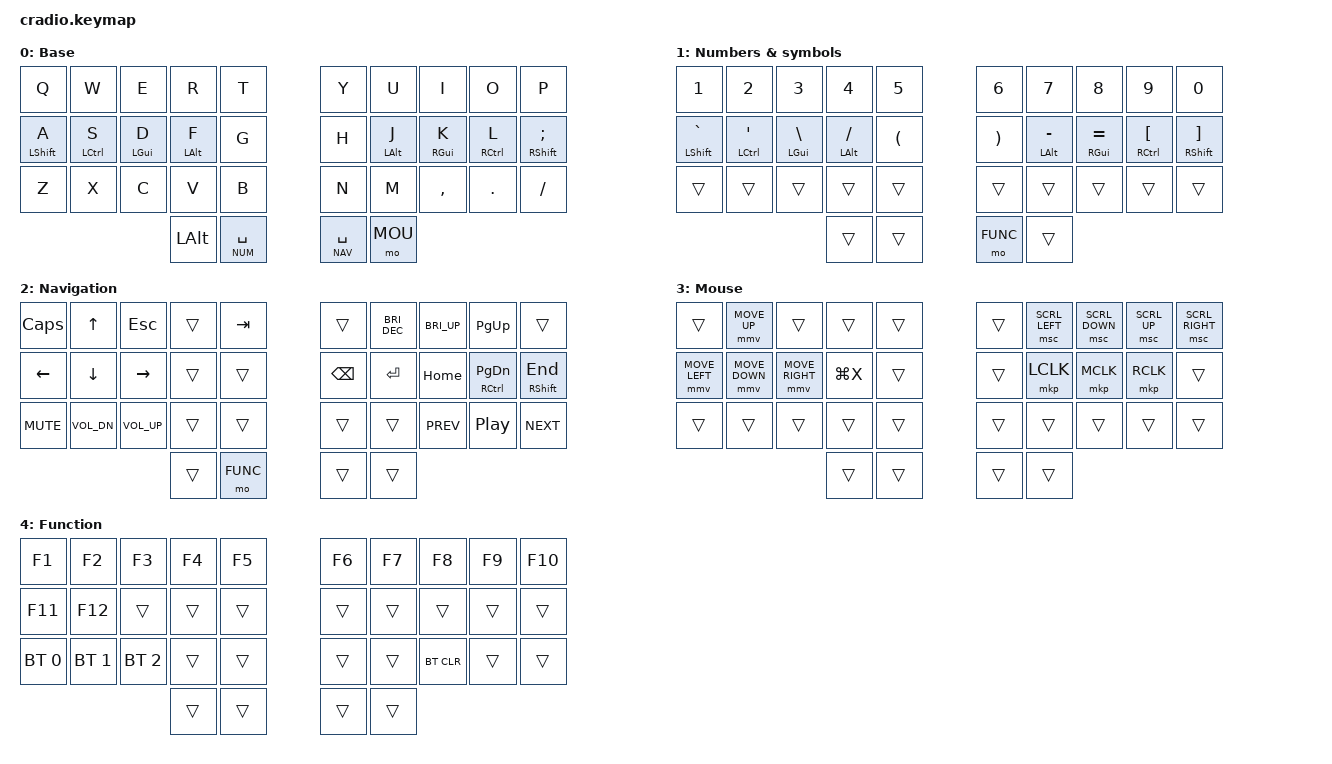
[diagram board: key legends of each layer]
// Copyright (c) 2022 The ZMK Contributors
// SPDX-License-Identifier: MIT

#define ZMK_MOUSE_DEFAULT_MOVE_VAL 2500  // 600
#define ZMK_MOUSE_DEFAULT_SCRL_VAL 20    // 10

#include <behaviors.dtsi>
#include <dt-bindings/zmk/bt.h>
#include <dt-bindings/zmk/keys.h>
#include <dt-bindings/zmk/outputs.h>
#include <dt-bindings/zmk/mouse.h>

#define BASE 0
#define NUM 1
#define NAV 2
#define MOU 3
#define FUNC 4

#define U_MS_U &mmv MOVE_UP
#define U_MS_D &mmv MOVE_DOWN
#define U_MS_L &mmv MOVE_LEFT
#define U_MS_R &mmv MOVE_RIGHT
#define U_WH_U &msc SCRL_UP
#define U_WH_D &msc SCRL_DOWN
#define U_WH_L &msc SCRL_LEFT
#define U_WH_R &msc SCRL_RIGHT

/ {
    chosen {
        zmk,charmap = &charmap_us;
    };
    behaviors {
        ht: hold_tap {
            label = "hold_tap";
            compatible = "zmk,behavior-hold-tap";
            #binding-cells = <2>;
            flavor = "tap-preferred";
            tapping-term-ms = <200>;
            quick-tap-ms = <150>;
//            global-quick-tap;
            bindings = <&kp>, <&kp>;
        };
        mmv {
            acceleration-exponent = <1>;      // 1
            time-to-max-speed-ms = <300>;    // 40
            delay-ms = <0>;                   // 0
        };
        msc {
            acceleration-exponent = <0>;      // 0
            time-to-max-speed-ms = <40>;      // 500
            delay-ms = <0>;                   // 10
        };
    };

    combos {
        compatible = "zmk,combos";
        combo_lpar {
            timeout-ms = <50>;
            key-positions = <0 1>;
            bindings = <&kp LPAR>;
            layers = <0>;
        };
        combo_rpar {
            timeout-ms = <50>;
            key-positions = <8 9>;
            bindings = <&kp RPAR>;
            layers = <0>;
        };
    };

    keymap {
        compatible = "zmk,keymap";

        default_layer {
          display-name = "Base";
            bindings = <
&kp Q         &kp W        &kp E       &kp R        &kp T         &kp Y      &kp U        &kp I        &kp O       &kp P
&ht LSHIFT A  &ht LCTRL S  &ht LGUI D  &ht LALT F   &kp G         &kp H      &ht LALT J   &ht RGUI K  &ht RCTRL L  &ht RSHIFT SEMI
&kp Z         &kp X        &kp C       &kp V        &kp B         &kp N      &kp M        &kp COMMA   &kp DOT     &kp SLASH
                                &kp LALT      &lt NUM SPACE        &lt NAV SPACE    &mo MOU
            >;
        };

        num_layer {
          display-name = "Numbers & symbols";
          bindings = <
&kp N1            &kp N2        &kp N3       &kp N4        &kp N5         &kp N6      &kp N7        &kp N8        &kp N9       &kp N0
            &ht LSHIFT GRAVE  &ht LCTRL APOS  &ht LGUI BSLH  &ht LALT SLASH   &kp LPAR         &kp RPAR      &ht LALT MINUS   &ht RGUI EQUAL  &ht RCTRL LBKT  &ht RSHIFT RBKT
&trans         &trans        &trans       &trans        &trans         &trans      &trans        &trans   &trans     &trans
            &trans      &trans            &mo FUNC    &trans
            >;
        };

        nav_layer {
                  display-name = "Navigation";
          bindings = <
&kp CAPS    &kp UP          &kp ESC       &trans        &kp TAB        &trans      &kp C_BRI_DEC     &kp C_BRI_UP        &kp PG_UP       &trans
&kp LEFT    &kp DOWN        &kp RIGHT     &trans        &trans         &kp BSPC    &kp ENTER          &kp HOME       &ht RCTRL PG_DN  &ht RSHIFT END
&kp C_MUTE  &kp C_VOL_DN    &kp C_VOL_UP  &trans        &trans         &trans      &trans        &kp C_PREV   &kp C_PP     &kp C_NEXT
            &trans          &mo FUNC       &trans    &trans
            >;
        };

        mouse_layer {
          display-name = "Mouse";
          bindings = <
&trans            &mmv MOVE_UP      &trans              &trans        &trans             &trans      &msc SCRL_LEFT     &msc SCRL_DOWN        &msc SCRL_UP       &msc SCRL_RIGHT
&mmv MOVE_LEFT    &mmv MOVE_DOWN    &mmv MOVE_RIGHT    &kp LG(X)        &trans         &trans    &mkp LCLK          &mkp MCLK       &mkp RCLK  &trans
&trans            &trans    &trans  &trans        &trans         &trans      &trans        &trans   &trans     &trans
            &trans      &trans       &trans    &trans
            >;
        };

        function_layer {
          display-name = "Function";
          bindings = <
&kp F1        &kp F2      &kp F3              &kp F4        &kp F5             &kp F6      &kp F7     &kp F8        &kp F9       &kp F10
&kp F11           &kp F12    &trans    &trans        &trans         &trans    &trans          &trans       &trans  &trans
&bt BT_SEL 0            &bt BT_SEL 1    &bt BT_SEL 2  &trans        &trans         &trans      &trans        &bt BT_CLR   &trans     &trans
            &trans      &trans       &trans    &trans
            >;
        };        
    };
};
